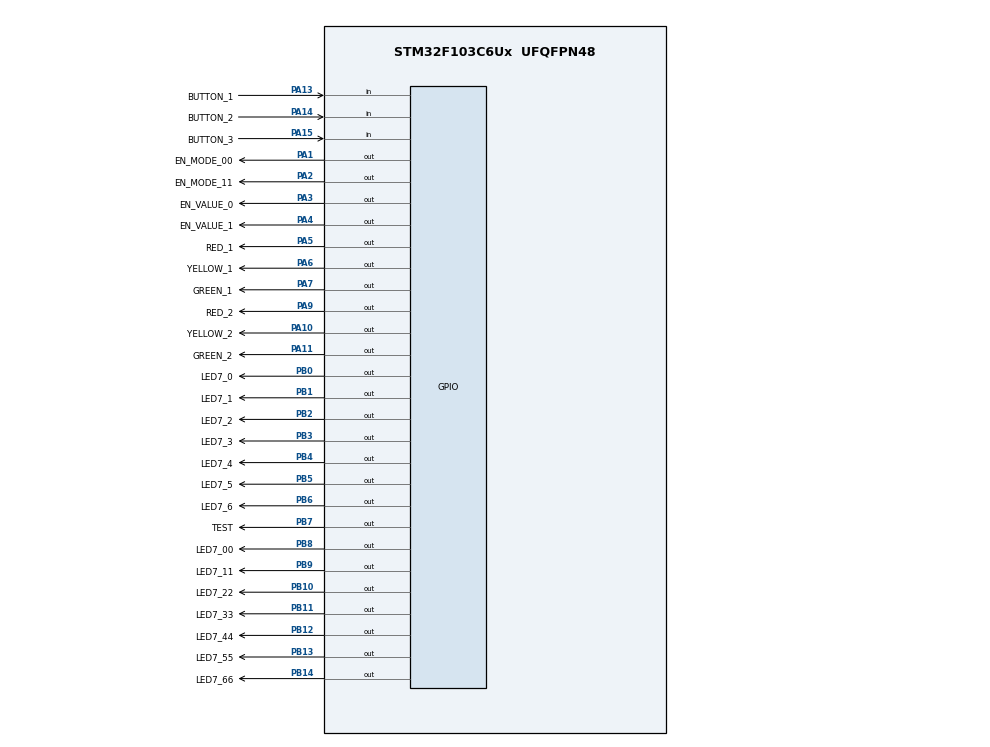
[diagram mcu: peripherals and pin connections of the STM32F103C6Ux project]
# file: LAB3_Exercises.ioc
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Mcu.Family=STM32F1
Mcu.Name=STM32F103C6Ux
Mcu.Package=UFQFPN48
NVIC.PriorityGroup=NVIC_PRIORITYGROUP_4
NVIC.TIM2_IRQn=true\:0\:0\:false\:false\:true\:true\:true
PA1.GPIO_Label=EN_MODE_00
PA1.Signal=GPIO_Output
PA10.GPIO_Label=YELLOW_2
PA10.Signal=GPIO_Output
PA11.GPIO_Label=GREEN_2
PA11.Signal=GPIO_Output
PA13.GPIO_Label=BUTTON_1
PA13.Signal=GPIO_Input
PA14.GPIO_Label=BUTTON_2
PA14.Signal=GPIO_Input
PA15.GPIO_Label=BUTTON_3
PA15.Signal=GPIO_Input
PA2.GPIO_Label=EN_MODE_11
PA2.Signal=GPIO_Output
PA3.GPIO_Label=EN_VALUE_0
PA3.Signal=GPIO_Output
PA4.GPIO_Label=EN_VALUE_1
PA4.Signal=GPIO_Output
PA5.GPIO_Label=RED_1
PA5.Signal=GPIO_Output
PA6.GPIO_Label=YELLOW_1
PA6.Signal=GPIO_Output
PA7.GPIO_Label=GREEN_1
PA7.Signal=GPIO_Output
PA9.GPIO_Label=RED_2
PA9.Signal=GPIO_Output
PB0.GPIO_Label=LED7_0
PB0.Signal=GPIO_Output
PB1.GPIO_Label=LED7_1
PB1.Signal=GPIO_Output
PB10.GPIO_Label=LED7_22
PB10.Signal=GPIO_Output
PB11.GPIO_Label=LED7_33
PB11.Signal=GPIO_Output
PB12.GPIO_Label=LED7_44
PB12.Signal=GPIO_Output
PB13.GPIO_Label=LED7_55
PB13.Signal=GPIO_Output
PB14.GPIO_Label=LED7_66
PB14.Signal=GPIO_Output
PB2.GPIO_Label=LED7_2
PB2.Signal=GPIO_Output
PB3.GPIO_Label=LED7_3
PB3.Signal=GPIO_Output
PB4.GPIO_Label=LED7_4
PB4.Signal=GPIO_Output
PB5.GPIO_Label=LED7_5
PB5.Signal=GPIO_Output
PB6.GPIO_Label=LED7_6
PB6.Signal=GPIO_Output
PB7.GPIO_Label=TEST
PB7.Signal=GPIO_Output
PB8.GPIO_Label=LED7_00
PB8.Signal=GPIO_Output
PB9.GPIO_Label=LED7_11
PB9.Signal=GPIO_Output
ProjectManager.HeapSize=0x200
ProjectManager.StackSize=0x400
ProjectManager.TargetToolchain=STM32CubeIDE
RCC.APB1Freq_Value=8000000
RCC.APB2Freq_Value=8000000
TIM2.Period=9
TIM2.Prescaler=7999
VP_SYS_VS_ND.Mode=No_Debug
VP_TIM2_VS_ClockSourceINT.Mode=Internal
board=custom

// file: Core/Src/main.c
/* USER CODE BEGIN Header */
/**
  ******************************************************************************
  * @file           : main.c
  * @brief          : Main program body
  ******************************************************************************
  * @attention
  *
  * <h2><center>&copy; Copyright (c) 2023 STMicroelectronics.
  * All rights reserved.</center></h2>
  *
  * This software component is licensed by ST under BSD 3-Clause license,
  * the "License"; You may not use this file except in compliance with the
  * License. You may obtain a copy of the License at:
  *                        opensource.org/licenses/BSD-3-Clause
  *
  ******************************************************************************
  */
/* USER CODE END Header */
#include "main.h"

/* USER CODE BEGIN Includes */
#include "global.h"
#include "input_processing.h"
#include "input_reading.h"
#include "led_display.h"
#include "timer.h"
/* USER CODE END Includes */

TIM_HandleTypeDef htim2;

void SystemClock_Config(void);
static void MX_GPIO_Init(void);
static void MX_TIM2_Init(void);

int main(void)
{

  /* MCU Configuration--------------------------------------------------------*/

  /* Reset of all peripherals, Initializes the Flash interface and the Systick. */
  HAL_Init();

  /* Configure the system clock */
  SystemClock_Config();

  /* Initialize all configured peripherals */
  MX_GPIO_Init();
  MX_TIM2_Init();
  /* USER CODE BEGIN 2 */
  HAL_TIM_Base_Start_IT(&htim2);
  /* USER CODE END 2 */

  /* Infinite loop */
  /* USER CODE BEGIN WHILE */
  initialize_variable() ;
  clear_button() ;
  clearLED() ;
  setTimer_MODE(10) ;
  setTimer_VALUE(10) ;
  while (1)
  {
    /* USER CODE END WHILE */
	  if( timer_VALUE_flag == 1) {
		  setTimer_VALUE (10) ;
		  fsm_for_input_processing () ;
	  }
	  if( timer_MODE_flag == 1) {
		  setTimer_MODE (500) ;
		  if( index_mode >= 2)
			  index_mode = 0;
	  }
  }
}

void SystemClock_Config(void)
{
  RCC_OscInitTypeDef RCC_OscInitStruct = {0};
  RCC_ClkInitTypeDef RCC_ClkInitStruct = {0};

  /** Initializes the RCC Oscillators according to the specified parameters
  * in the RCC_OscInitTypeDef structure.
  */
  RCC_OscInitStruct.OscillatorType = RCC_OSCILLATORTYPE_HSI;
  RCC_OscInitStruct.HSIState = RCC_HSI_ON;
  RCC_OscInitStruct.HSICalibrationValue = RCC_HSICALIBRATION_DEFAULT;
  RCC_OscInitStruct.PLL.PLLState = RCC_PLL_NONE;
  if (HAL_RCC_OscConfig(&RCC_OscInitStruct) != HAL_OK)
  {
    Error_Handler();
  }
  /** Initializes the CPU, AHB and APB buses clocks
  */
  RCC_ClkInitStruct.ClockType = RCC_CLOCKTYPE_HCLK|RCC_CLOCKTYPE_SYSCLK
                              |RCC_CLOCKTYPE_PCLK1|RCC_CLOCKTYPE_PCLK2;
  RCC_ClkInitStruct.SYSCLKSource = RCC_SYSCLKSOURCE_HSI;
  RCC_ClkInitStruct.AHBCLKDivider = RCC_SYSCLK_DIV1;
  RCC_ClkInitStruct.APB1CLKDivider = RCC_HCLK_DIV1;
  RCC_ClkInitStruct.APB2CLKDivider = RCC_HCLK_DIV1;

  if (HAL_RCC_ClockConfig(&RCC_ClkInitStruct, FLASH_LATENCY_0) != HAL_OK)
  {
    Error_Handler();
  }
}

static void MX_TIM2_Init(void)
{

  TIM_ClockConfigTypeDef sClockSourceConfig = {0};
  TIM_MasterConfigTypeDef sMasterConfig = {0};

  htim2.Instance = TIM2;
  htim2.Init.Prescaler = 7999;
  htim2.Init.CounterMode = TIM_COUNTERMODE_UP;
  htim2.Init.Period = 9;
  htim2.Init.ClockDivision = TIM_CLOCKDIVISION_DIV1;
  htim2.Init.AutoReloadPreload = TIM_AUTORELOAD_PRELOAD_DISABLE;
  if (HAL_TIM_Base_Init(&htim2) != HAL_OK)
  {
    Error_Handler();
  }
  sClockSourceConfig.ClockSource = TIM_CLOCKSOURCE_INTERNAL;
  if (HAL_TIM_ConfigClockSource(&htim2, &sClockSourceConfig) != HAL_OK)
  {
    Error_Handler();
  }
  sMasterConfig.MasterOutputTrigger = TIM_TRGO_RESET;
  sMasterConfig.MasterSlaveMode = TIM_MASTERSLAVEMODE_DISABLE;
  if (HAL_TIMEx_MasterConfigSynchronization(&htim2, &sMasterConfig) != HAL_OK)
  {
    Error_Handler();
  }

}

static void MX_GPIO_Init(void)
{
  GPIO_InitTypeDef GPIO_InitStruct = {0};

  /* GPIO Ports Clock Enable */
  __HAL_RCC_GPIOA_CLK_ENABLE();
  __HAL_RCC_GPIOB_CLK_ENABLE();

  /*Configure GPIO pin Output Level */
  HAL_GPIO_WritePin(GPIOA, EN_MODE_00_Pin|EN_MODE_11_Pin|EN_VALUE_0_Pin|EN_VALUE_1_Pin
                          |RED_1_Pin|YELLOW_1_Pin|GREEN_1_Pin|RED_2_Pin
                          |YELLOW_2_Pin|GREEN_2_Pin, GPIO_PIN_RESET);

  /*Configure GPIO pin Output Level */
  HAL_GPIO_WritePin(GPIOB, LED7_0_Pin|LED7_1_Pin|LED7_2_Pin|LED7_22_Pin
                          |LED7_33_Pin|LED7_44_Pin|LED7_55_Pin|LED7_66_Pin
                          |LED7_3_Pin|LED7_4_Pin|LED7_5_Pin|LED7_6_Pin
                          |TEST_Pin|LED7_00_Pin|LED7_11_Pin, GPIO_PIN_RESET);

  /*Configure GPIO pins : EN_MODE_00_Pin EN_MODE_11_Pin EN_VALUE_0_Pin EN_VALUE_1_Pin
                           RED_1_Pin YELLOW_1_Pin GREEN_1_Pin RED_2_Pin
                           YELLOW_2_Pin GREEN_2_Pin */
  GPIO_InitStruct.Pin = EN_MODE_00_Pin|EN_MODE_11_Pin|EN_VALUE_0_Pin|EN_VALUE_1_Pin
                          |RED_1_Pin|YELLOW_1_Pin|GREEN_1_Pin|RED_2_Pin
                          |YELLOW_2_Pin|GREEN_2_Pin;
  GPIO_InitStruct.Mode = GPIO_MODE_OUTPUT_PP;
  GPIO_InitStruct.Pull = GPIO_NOPULL;
  GPIO_InitStruct.Speed = GPIO_SPEED_FREQ_LOW;
  HAL_GPIO_Init(GPIOA, &GPIO_InitStruct);

  /*Configure GPIO pins : LED7_0_Pin LED7_1_Pin LED7_2_Pin LED7_22_Pin
                           LED7_33_Pin LED7_44_Pin LED7_55_Pin LED7_66_Pin
                           LED7_3_Pin LED7_4_Pin LED7_5_Pin LED7_6_Pin
                           TEST_Pin LED7_00_Pin LED7_11_Pin */
  GPIO_InitStruct.Pin = LED7_0_Pin|LED7_1_Pin|LED7_2_Pin|LED7_22_Pin
                          |LED7_33_Pin|LED7_44_Pin|LED7_55_Pin|LED7_66_Pin
                          |LED7_3_Pin|LED7_4_Pin|LED7_5_Pin|LED7_6_Pin
                          |TEST_Pin|LED7_00_Pin|LED7_11_Pin;
  GPIO_InitStruct.Mode = GPIO_MODE_OUTPUT_PP;
  GPIO_InitStruct.Pull = GPIO_NOPULL;
  GPIO_InitStruct.Speed = GPIO_SPEED_FREQ_LOW;
  HAL_GPIO_Init(GPIOB, &GPIO_InitStruct);

  /*Configure GPIO pins : BUTTON_1_Pin BUTTON_2_Pin BUTTON_3_Pin */
  GPIO_InitStruct.Pin = BUTTON_1_Pin|BUTTON_2_Pin|BUTTON_3_Pin;
  GPIO_InitStruct.Mode = GPIO_MODE_INPUT;
  GPIO_InitStruct.Pull = GPIO_NOPULL;
  HAL_GPIO_Init(GPIOA, &GPIO_InitStruct);

}

/* USER CODE BEGIN 4 */
void HAL_TIM_PeriodElapsedCallback ( TIM_HandleTypeDef * htim ) {
	if( htim->Instance == TIM2 )
		button_reading () ;
	timer_run () ;
}
/* USER CODE END 4 */

void Error_Handler(void)
{
  __disable_irq();
  while (1)
  {
  }
}

/************************ (C) COPYRIGHT STMicroelectronics *****END OF FILE****/
